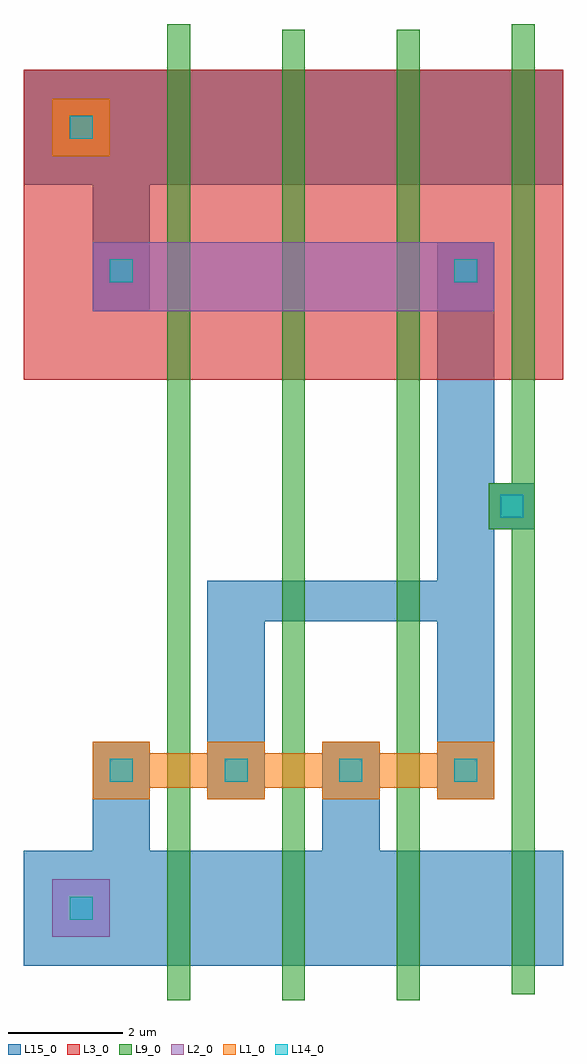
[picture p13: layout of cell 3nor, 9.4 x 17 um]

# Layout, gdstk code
import gdstk
lib = gdstk.Library(unit=1e-6, precision=1e-09)
def R(c, l, rs):  # rectangles x0, y0, x1, y1
    for r in rs: c.add(gdstk.rectangle(r[:2], r[2:], *l))
def A(c, l, x, y, w, h, nx, ny, dx, dy):  # array of equal rectangles
    R(c, l, [(x+i*dx, y+j*dy, x+i*dx+w, y+j*dy+h) for i in range(nx) for j in range(ny)])
def P(c, l, *ps):  # polygons
    for p in ps: c.add(gdstk.Polygon(p, *l))
L1_0 = (1, 0)
L2_0 = (2, 0)
L3_0 = (3, 0)
L9_0 = (9, 0)
L14_0 = (14, 0)
L15_0 = (15, 0)

c_3nor = lib.new_cell('3nor')
R(c_3nor, L1_0, [(-11.7,4.3,-10.7,5.3)])
P(c_3nor, L1_0, [(-11,-6.9),(-10,-6.9),(-10,-6.7),(-9,-6.7),(-9,-6.9),(-8,-6.9),(-8,-6.7),(-7,-6.7),(-7,-6.9),(-6,-6.9),(-6,-6.7),(-5,-6.7),(-5,-6.9),(-4,-6.9),(-4,-5.9),(-5,-5.9),(-5,-6.1),(-6,-6.1),(-6,-5.9),(-7,-5.9),(-7,-6.1),(-8,-6.1),(-8,-5.9),(-9,-5.9),(-9,-6.1),(-10,-6.1),(-10,-5.9),(-11,-5.9)])
R(c_3nor, L2_0, [(-11.7,-9.3,-10.7,-8.3), (-11,1.6,-4,2.8)])
R(c_3nor, L3_0, [(-12.2,0.4,-2.8,5.8)])
R(c_3nor, L9_0, [(-9.7,-10.4,-9.3,6.6), (-7.7,-10.4,-7.3,6.5), (-5.7,-10.4,-5.3,6.5)])
P(c_3nor, L9_0, [(-3.3,6.6),(-3.7,6.6),(-3.7,-1.4),(-4.1,-1.4),(-4.1,-2.2),(-3.7,-2.2),(-3.7,-10.3),(-3.3,-10.3)])
A(c_3nor, L14_0, -10.7, -6.6, 0.4, 0.4, 4, 1, 2, 0)
R(c_3nor, L14_0, [(-11.4,-9,-11,-8.6), (-3.9,-2,-3.5,-1.6), (-10.7,2.1,-10.3,2.5), (-4.7,2.1,-4.3,2.5), (-11.4,4.6,-11,5)])
P(c_3nor, L15_0, [(-6,-7.8),(-6,-5.9),(-7,-5.9),(-7,-7.8),(-10,-7.8),(-10,-5.9),(-11,-5.9),(-11,-7.8),(-12.2,-7.8),(-12.2,-9.8),(-2.8,-9.8),(-2.8,-7.8)],
  [(-10,3.8),(-2.8,3.8),(-2.8,5.8),(-12.2,5.8),(-12.2,3.8),(-11,3.8),(-11,1.6),(-10,1.6)],
  [(-9,-6.9),(-8,-6.9),(-8,-3.8),(-5,-3.8),(-5,-6.9),(-4,-6.9),(-4,-2.2),(-3.3,-2.2),(-3.3,-1.4),(-4,-1.4),(-4,2.8),(-5,2.8),(-5,-3.1),(-9,-3.1)])

lib.write_gds('3nor.gds')
